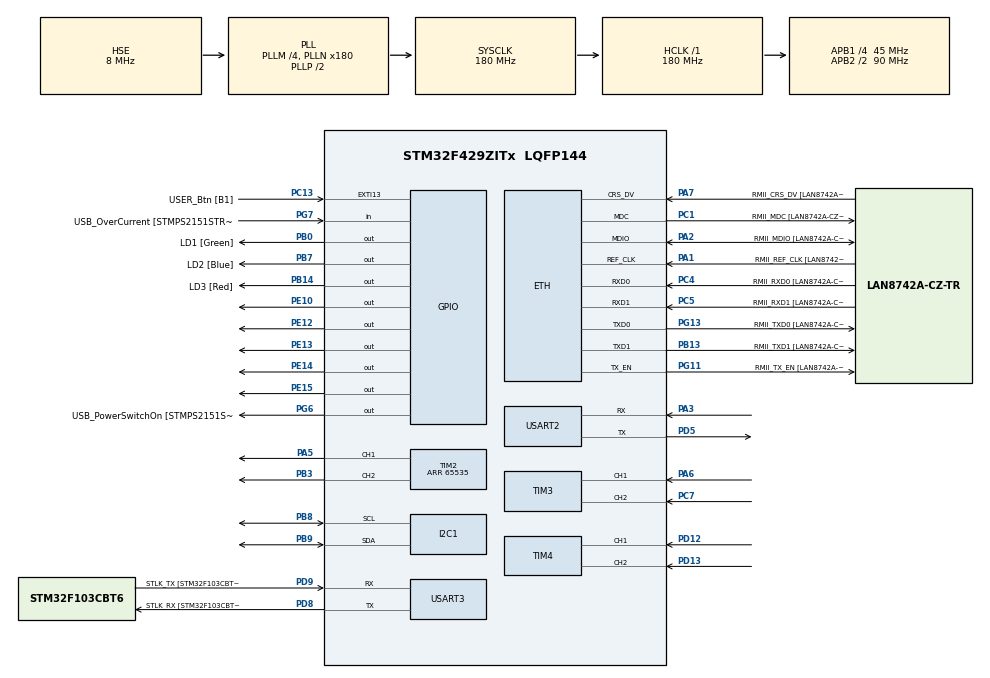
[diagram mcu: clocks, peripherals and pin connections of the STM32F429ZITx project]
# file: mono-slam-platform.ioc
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Dma.I2C1_RX.0.Direction=DMA_PERIPH_TO_MEMORY
Dma.I2C1_RX.0.FIFOMode=DMA_FIFOMODE_DISABLE
Dma.I2C1_RX.0.Instance=DMA1_Stream0
Dma.I2C1_RX.0.MemDataAlignment=DMA_MDATAALIGN_BYTE
Dma.I2C1_RX.0.MemInc=DMA_MINC_ENABLE
Dma.I2C1_RX.0.Mode=DMA_NORMAL
Dma.I2C1_RX.0.PeriphDataAlignment=DMA_PDATAALIGN_BYTE
Dma.I2C1_RX.0.PeriphInc=DMA_PINC_DISABLE
Dma.I2C1_RX.0.Priority=DMA_PRIORITY_LOW
Dma.Request0=I2C1_RX
Dma.Request1=USART3_RX
Dma.Request2=USART3_TX
Dma.USART3_RX.1.Direction=DMA_PERIPH_TO_MEMORY
Dma.USART3_RX.1.FIFOMode=DMA_FIFOMODE_DISABLE
Dma.USART3_RX.1.Instance=DMA1_Stream1
Dma.USART3_RX.1.MemDataAlignment=DMA_MDATAALIGN_BYTE
Dma.USART3_RX.1.MemInc=DMA_MINC_ENABLE
Dma.USART3_RX.1.Mode=DMA_CIRCULAR
Dma.USART3_RX.1.PeriphDataAlignment=DMA_PDATAALIGN_BYTE
Dma.USART3_RX.1.PeriphInc=DMA_PINC_DISABLE
Dma.USART3_RX.1.Priority=DMA_PRIORITY_VERY_HIGH
Dma.USART3_TX.2.Direction=DMA_MEMORY_TO_PERIPH
Dma.USART3_TX.2.FIFOMode=DMA_FIFOMODE_DISABLE
Dma.USART3_TX.2.Instance=DMA1_Stream3
Dma.USART3_TX.2.MemDataAlignment=DMA_MDATAALIGN_BYTE
Dma.USART3_TX.2.MemInc=DMA_MINC_ENABLE
Dma.USART3_TX.2.Mode=DMA_NORMAL
Dma.USART3_TX.2.PeriphDataAlignment=DMA_PDATAALIGN_BYTE
Dma.USART3_TX.2.PeriphInc=DMA_PINC_DISABLE
Dma.USART3_TX.2.Priority=DMA_PRIORITY_VERY_HIGH
ETH.MediaInterface=HAL_ETH_RMII_MODE
ETH.PHY_Name=LAN8742A_PHY_ADDRESS
ETH.PHY_Value=0
ETH.PhyAddress=0
FREERTOS.Tasks01=defaultTask,24,3000,StartDefaultTask,Default,NULL,Static,defaultTaskBuffer,defaultTaskControlBlock
Mcu.Family=STM32F4
Mcu.Name=STM32F429ZITx
Mcu.Package=LQFP144
NVIC.DMA1_Stream0_IRQn=true\:5\:0\:false\:false\:true\:true\:false\:true\:true
NVIC.DMA1_Stream1_IRQn=true\:5\:0\:false\:false\:true\:true\:false\:true\:true
NVIC.DMA1_Stream3_IRQn=true\:5\:0\:false\:false\:true\:true\:false\:true\:true
NVIC.PriorityGroup=NVIC_PRIORITYGROUP_4
NVIC.TIM1_UP_TIM10_IRQn=true\:15\:0\:false\:false\:true\:false\:false\:true\:true
NVIC.TimeBase=TIM1_UP_TIM10_IRQn
NVIC.TimeBaseIP=TIM1
NVIC.USART3_IRQn=true\:5\:0\:false\:false\:true\:true\:true\:true\:true
PA1.GPIO_Label=RMII_REF_CLK [LAN8742A-CZ-TR_REFCLK0]
PA1.Mode=RMII
PA1.Signal=ETH_REF_CLK
PA10.GPIO_Label=USB_ID
PA10.Signal=USB_OTG_FS_ID
PA11.GPIO_Label=USB_DM
PA11.Signal=USB_OTG_FS_DM
PA12.GPIO_Label=USB_DP
PA12.Signal=USB_OTG_FS_DP
PA13.GPIO_Label=TMS
PA13.Mode=Serial_Wire
PA13.Signal=SYS_JTMS-SWDIO
PA14.GPIO_Label=TCK
PA14.Mode=Serial_Wire
PA14.Signal=SYS_JTCK-SWCLK
PA2.GPIO_Label=RMII_MDIO [LAN8742A-CZ-TR_MDIO]
PA2.Mode=RMII
PA2.Signal=ETH_MDIO
PA3.Mode=Asynchronous
PA3.Signal=USART2_RX
PA5.Signal=S_TIM2_CH1_ETR
PA6.Signal=S_TIM3_CH1
PA7.GPIO_Label=RMII_CRS_DV [LAN8742A-CZ-TR_CRS_DV]
PA7.Mode=RMII
PA7.Signal=ETH_CRS_DV
PA8.GPIO_Label=USB_SOF [TP1]
PA8.Signal=USB_OTG_FS_SOF
PA9.GPIO_Label=USB_VBUS
PA9.Signal=USB_OTG_FS_VBUS
PB0.GPIO_Label=LD1 [Green]
PB0.Signal=GPIO_Output
PB13.GPIO_Label=RMII_TXD1 [LAN8742A-CZ-TR_TXD1]
PB13.Mode=RMII
PB13.Signal=ETH_TXD1
PB14.GPIO_Label=LD3 [Red]
PB14.Signal=GPIO_Output
PB3.Signal=S_TIM2_CH2
PB7.GPIO_Label=LD2 [Blue]
PB7.Signal=GPIO_Output
PB8.Mode=I2C
PB8.Signal=I2C1_SCL
PB9.Mode=I2C
PB9.Signal=I2C1_SDA
PC1.GPIO_Label=RMII_MDC [LAN8742A-CZ-TR_MDC]
PC1.Mode=RMII
PC1.Signal=ETH_MDC
PC13.GPIO_Label=USER_Btn [B1]
PC13.Signal=GPXTI13
PC14/OSC32_IN.Mode=LSE-External-Oscillator
PC14/OSC32_IN.Signal=RCC_OSC32_IN
PC15/OSC32_OUT.Mode=LSE-External-Oscillator
PC15/OSC32_OUT.Signal=RCC_OSC32_OUT
PC4.GPIO_Label=RMII_RXD0 [LAN8742A-CZ-TR_RXD0]
PC4.Mode=RMII
PC4.Signal=ETH_RXD0
PC5.GPIO_Label=RMII_RXD1 [LAN8742A-CZ-TR_RXD1]
PC5.Mode=RMII
PC5.Signal=ETH_RXD1
PC7.Signal=S_TIM3_CH2
PD12.Signal=S_TIM4_CH1
PD13.Signal=S_TIM4_CH2
PD5.Mode=Asynchronous
PD5.Signal=USART2_TX
PD8.GPIO_Label=STLK_RX [STM32F103CBT6_PA3]
PD8.Mode=Asynchronous
PD8.Signal=USART3_TX
PD9.GPIO_Label=STLK_TX [STM32F103CBT6_PA2]
PD9.Mode=Asynchronous
PD9.Signal=USART3_RX
PE10.Signal=GPIO_Output
PE12.Signal=GPIO_Output
PE13.Signal=GPIO_Output
PE14.Signal=GPIO_Output
PE15.Signal=GPIO_Output
PG11.GPIO_Label=RMII_TX_EN [LAN8742A-CZ-TR_TXEN]
PG11.Mode=RMII
PG11.Signal=ETH_TX_EN
PG13.GPIO_Label=RMII_TXD0 [LAN8742A-CZ-TR_TXD0]
PG13.Mode=RMII
PG13.Signal=ETH_TXD0
PG6.GPIO_Label=USB_PowerSwitchOn [STMPS2151STR_EN]
PG6.Signal=GPIO_Output
PG7.GPIO_Label=USB_OverCurrent [STMPS2151STR_FAULT]
PG7.Signal=GPIO_Input
PH0/OSC_IN.GPIO_Label=MCO [STM32F103CBT6_PA8]
PH0/OSC_IN.Mode=HSE-External-Clock-Source
PH0/OSC_IN.Signal=RCC_OSC_IN
PH1/OSC_OUT.Mode=HSE-External-Clock-Source
PH1/OSC_OUT.Signal=RCC_OSC_OUT
ProjectManager.HeapSize=0x200
ProjectManager.StackSize=0x400
ProjectManager.TargetToolchain=Makefile
RCC.48MHZClocksFreq_Value=51428571.428571425
RCC.AHBFreq_Value=180000000
RCC.APB1CLKDivider=RCC_HCLK_DIV4
RCC.APB1Freq_Value=45000000
RCC.APB1TimFreq_Value=90000000
RCC.APB2CLKDivider=RCC_HCLK_DIV2
RCC.APB2Freq_Value=90000000
RCC.APB2TimFreq_Value=180000000
RCC.CortexFreq_Value=180000000
RCC.HCLKFreq_Value=180000000
RCC.HSE_VALUE=8000000
RCC.HSI_VALUE=16000000
RCC.PLLM=4
RCC.PLLMUL=RCC_PLL_MUL9
RCC.PLLN=180
RCC.PLLQ=7
RCC.PLLSourceVirtual=RCC_PLLSOURCE_HSE
RCC.PRESCALERUSB=RCC_USBCLKSOURCE_PLL_DIV1_5
RCC.SYSCLKFreq_VALUE=180000000
RCC.SYSCLKSource=RCC_SYSCLKSOURCE_PLLCLK
RCC.SYSCLKSourceVirtual=RCC_SYSCLKSOURCE_PLLCLK
RCC.USBFreq_Value=48000000
RCC.VCOOutputFreq_Value=360000000
SH.S_TIM2_CH1_ETR.0=TIM2_CH1,PWM Generation1 CH1
SH.S_TIM2_CH2.0=TIM2_CH2,PWM Generation2 CH2
SH.S_TIM3_CH1.0=TIM3_CH1,Encoder_Interface
SH.S_TIM3_CH2.0=TIM3_CH2,Encoder_Interface
SH.S_TIM4_CH1.0=TIM4_CH1,Encoder_Interface
SH.S_TIM4_CH2.0=TIM4_CH2,Encoder_Interface
TIM2.AutoReloadPreload=TIM_AUTORELOAD_PRELOAD_ENABLE
TIM2.Channel-PWM\ Generation1\ CH1=TIM_CHANNEL_1
TIM2.Channel-PWM\ Generation2\ CH2=TIM_CHANNEL_2
TIM2.Period=65535
TIM3.EncoderMode=TIM_ENCODERMODE_TI12
TIM3.IC1Filter=10
TIM3.IC2Filter=10
TIM4.EncoderMode=TIM_ENCODERMODE_TI12
TIM4.IC1Filter=10
TIM4.IC2Filter=10
USART2.VirtualMode=VM_ASYNC
USART3.VirtualMode=VM_ASYNC
VP_FREERTOS_VS_CMSIS_V2.Mode=CMSIS_V2
VP_SYS_VS_tim1.Mode=TIM1
VP_TIM2_VS_ClockSourceINT.Mode=Internal
board=NUCLEO-F429ZI

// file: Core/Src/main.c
/* USER CODE BEGIN Header */
/**
 ******************************************************************************
 * @file           : main.c
 * @brief          : Main program body
 ******************************************************************************
 * @attention
 *
 * Copyright (c) 2025 STMicroelectronics.
 * All rights reserved.
 *
 * This software is licensed under terms that can be found in the LICENSE file
 * in the root directory of this software component.
 * If no LICENSE file comes with this software, it is provided AS-IS.
 *
 ******************************************************************************
 */
/* USER CODE END Header */
#include "main.h"
#include "cmsis_os.h"
#include "dma.h"
#include "eth.h"
#include "i2c.h"
#include "tim.h"
#include "usart.h"
#include "gpio.h"

/* USER CODE BEGIN Includes */
#include "actuator.h"
#include "app.h"
#include "app_config.h"
#include "debug.h"
#include "stm32f4_encoder_port_config.h"
#include "stm32f4_gpio_port_config.h"
#include "stm32f4_pwm_port_config.h"
/* USER CODE END Includes */

/* USER CODE BEGIN PV */
stm32f4_encoder_handle_t port_encoder1 = {
    .htim = &htim3,
    .channels = TIM_CHANNEL_ALL,
};
stm32f4_encoder_handle_t port_encoder2 = {
    .htim = &htim4,
    .channels = TIM_CHANNEL_ALL,
};

stm32f4_gpio_port_t port_hbridge1_in1 = {
    .port = GPIOE,
    .pin = GPIO_PIN_12,
};

stm32f4_gpio_port_t port_hbridge1_in2 = {
    .port = GPIOE,
    .pin = GPIO_PIN_13,
};

stm32f4_gpio_port_t port_hbridge2_in1 = {
    .port = GPIOE,
    .pin = GPIO_PIN_14,
};

stm32f4_gpio_port_t port_hbridge2_in2 = {
    .port = GPIOE,
    .pin = GPIO_PIN_15,
};

stm32f4_pwm_port_t port_hbridge1_pwm = {
    .htim = &htim2,
    .channel = TIM_CHANNEL_2,
};

stm32f4_pwm_port_t port_hbridge2_pwm = {
    .htim = &htim2,
    .channel = TIM_CHANNEL_1,
};

/* NOTE: The IN1/IN2 direction pins are intentionally cross-wired between
 * actuators to compensate for the physical PCB routing. Actuator 1 uses the
 * direction pins of H-bridge 2, and actuator 2 uses the direction pins of
 * H-bridge 1 (with IN1/IN2 also swapped). This was verified on hardware and
 * documented in the development journal (2025-07-10). Do not "fix" this. */
actuator_args_t actuator1_args = {
    .port_encoder = (void *)&port_encoder1,
    .counts_per_revolution = MOTOR_GEAR_RATIO * ENCODER_TICKS_MULTIPLIER *
                             ENCODER_TICKS_PER_REVOLUTION,
    .port_hbridge_pwm = (void *)&port_hbridge1_pwm,
    .port_hbridge_in1 = (void *)&port_hbridge2_in1,
    .port_hbridge_in2 = (void *)&port_hbridge2_in2,
    .state_queue_attr = (void *)&actuator1_state_queue_attr,
    .param_queue_attr = (void *)&actuator1_param_queue_attr,
};

actuator_args_t actuator2_args = {
    .port_encoder = (void *)&port_encoder2,
    .counts_per_revolution = MOTOR_GEAR_RATIO * ENCODER_TICKS_MULTIPLIER *
                             ENCODER_TICKS_PER_REVOLUTION,
    .port_hbridge_pwm = (void *)&port_hbridge2_pwm,
    .port_hbridge_in1 = (void *)&port_hbridge1_in2,
    .port_hbridge_in2 = (void *)&port_hbridge1_in1,
    .state_queue_attr = (void *)&actuator2_state_queue_attr,
    .param_queue_attr = (void *)&actuator2_param_queue_attr,
};
/* USER CODE END PV */

void SystemClock_Config(void);
void MX_FREERTOS_Init(void);

int main(void)
{

  /* MCU Configuration--------------------------------------------------------*/

  /* Reset of all peripherals, Initializes the Flash interface and the Systick. */
  HAL_Init();

  /* Configure the system clock */
  SystemClock_Config();

  /* Initialize all configured peripherals */
  MX_GPIO_Init();
  MX_DMA_Init();
  MX_ETH_Init();
  MX_USART2_UART_Init();
  MX_USART3_UART_Init();
  MX_TIM2_Init();
  MX_I2C1_Init();
  MX_TIM3_Init();
  MX_TIM4_Init();
  /* USER CODE BEGIN 2 */
  debug_init(&huart3);
  if (app_init(&hi2c1, &actuator1_args, &actuator2_args) < 0) {
      Error_Handler();
  }
  /* USER CODE END 2 */

  /* Init scheduler */
  osKernelInitialize();

  /* Call init function for freertos objects (in cmsis_os2.c) */
  MX_FREERTOS_Init();

  /* Start scheduler */
  osKernelStart();

  /* We should never get here as control is now taken by the scheduler */

  /* Infinite loop */
    while (1) {

    }
}

void SystemClock_Config(void)
{
  RCC_OscInitTypeDef RCC_OscInitStruct = {0};
  RCC_ClkInitTypeDef RCC_ClkInitStruct = {0};

  /** Configure the main internal regulator output voltage
  */
  __HAL_RCC_PWR_CLK_ENABLE();
  __HAL_PWR_VOLTAGESCALING_CONFIG(PWR_REGULATOR_VOLTAGE_SCALE1);

  /** Initializes the RCC Oscillators according to the specified parameters
  * in the RCC_OscInitTypeDef structure.
  */
  RCC_OscInitStruct.OscillatorType = RCC_OSCILLATORTYPE_HSE;
  RCC_OscInitStruct.HSEState = RCC_HSE_BYPASS;
  RCC_OscInitStruct.PLL.PLLState = RCC_PLL_ON;
  RCC_OscInitStruct.PLL.PLLSource = RCC_PLLSOURCE_HSE;
  RCC_OscInitStruct.PLL.PLLM = 4;
  RCC_OscInitStruct.PLL.PLLN = 180;
  RCC_OscInitStruct.PLL.PLLP = RCC_PLLP_DIV2;
  RCC_OscInitStruct.PLL.PLLQ = 7;
  if (HAL_RCC_OscConfig(&RCC_OscInitStruct) != HAL_OK)
  {
    Error_Handler();
  }

  /** Activate the Over-Drive mode
  */
  if (HAL_PWREx_EnableOverDrive() != HAL_OK)
  {
    Error_Handler();
  }

  /** Initializes the CPU, AHB and APB buses clocks
  */
  RCC_ClkInitStruct.ClockType = RCC_CLOCKTYPE_HCLK|RCC_CLOCKTYPE_SYSCLK
                              |RCC_CLOCKTYPE_PCLK1|RCC_CLOCKTYPE_PCLK2;
  RCC_ClkInitStruct.SYSCLKSource = RCC_SYSCLKSOURCE_PLLCLK;
  RCC_ClkInitStruct.AHBCLKDivider = RCC_SYSCLK_DIV1;
  RCC_ClkInitStruct.APB1CLKDivider = RCC_HCLK_DIV4;
  RCC_ClkInitStruct.APB2CLKDivider = RCC_HCLK_DIV2;

  if (HAL_RCC_ClockConfig(&RCC_ClkInitStruct, FLASH_LATENCY_5) != HAL_OK)
  {
    Error_Handler();
  }
}

void HAL_TIM_PeriodElapsedCallback(TIM_HandleTypeDef *htim)
{
  if (htim->Instance == TIM1) {
    HAL_IncTick();
  }
}

void Error_Handler(void)
{
  /* USER CODE BEGIN Error_Handler_Debug */
    /* User can add his own implementation to report the HAL error return state
     */
    __disable_irq();
    while (1) {
    }
  /* USER CODE END Error_Handler_Debug */
}

#ifdef  USE_FULL_ASSERT
/**
  * @brief  Reports the name of the source file and the source line number
  *         where the assert_param error has occurred.
  * @param  file: pointer to the source file name
  * @param  line: assert_param error line source number
  * @retval None
  */
void assert_failed(uint8_t *file, uint32_t line)
{
  /* USER CODE BEGIN 6 */
    /* User can add his own implementation to report the file name and line
       number, ex: printf("Wrong parameters value: file %s on line %d\r\n",
       file, line) */
  /* USER CODE END 6 */
}
#endif /* USE_FULL_ASSERT */

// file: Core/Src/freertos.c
/* USER CODE BEGIN Header */
/**
  ******************************************************************************
  * File Name          : freertos.c
  * Description        : Code for freertos applications
  ******************************************************************************
  * @attention
  *
  * Copyright (c) 2025 STMicroelectronics.
  * All rights reserved.
  *
  * This software is licensed under terms that can be found in the LICENSE file
  * in the root directory of this software component.
  * If no LICENSE file comes with this software, it is provided AS-IS.
  *
  ******************************************************************************
  */
/* USER CODE END Header */

#include "FreeRTOS.h"
#include "task.h"
#include "main.h"
#include "cmsis_os.h"

/* USER CODE BEGIN Includes */
#include "transport.h"
#include "microros_transport_config.h"
#include "imu.h"
#include "usart.h"

#include <rcl/rcl.h>
#include <rcl/error_handling.h>
#include <rclc/executor.h>
#include <rclc/rclc.h>
#include <rmw_microros/rmw_microros.h>
#include <rmw_microxrcedds_c/config.h>
#include <rclc_parameter/rclc_parameter.h>
#include <uxr/client/transport.h>
#include <stdio.h>

#include <geometry_msgs/msg/quaternion.h>
#include <geometry_msgs/msg/vector3.h>
/* USER CODE END Includes */

typedef StaticTask_t osStaticThreadDef_t;

/* USER CODE BEGIN Variables */
static transport_context_t transport_context;
static rcl_timer_t joint_state_publisher_timer;
static rcl_timer_t imu_publisher_timer;
static rcl_timer_t odometry_publisher_timer;
/* USER CODE END Variables */
/* Definitions for defaultTask */
osThreadId_t defaultTaskHandle;
uint32_t defaultTaskBuffer[ 3000 ];
osStaticThreadDef_t defaultTaskControlBlock;
const osThreadAttr_t defaultTask_attributes = {
  .name = "defaultTask",
  .cb_mem = &defaultTaskControlBlock,
  .cb_size = sizeof(defaultTaskControlBlock),
  .stack_mem = &defaultTaskBuffer[0],
  .stack_size = sizeof(defaultTaskBuffer),
  .priority = (osPriority_t) osPriorityNormal,
};

/* USER CODE BEGIN FunctionPrototypes */
bool cubemx_transport_open(struct uxrCustomTransport* transport);
bool cubemx_transport_close(struct uxrCustomTransport* transport);
size_t cubemx_transport_write(struct uxrCustomTransport* transport,
                              const uint8_t* buf, size_t len, uint8_t* err);
size_t cubemx_transport_read(struct uxrCustomTransport* transport, uint8_t* buf,
                             size_t len, int timeout, uint8_t* err);

void* microros_allocate(size_t size, void* state);
void microros_deallocate(void* pointer, void* state);
void* microros_reallocate(void* pointer, size_t size, void* state);
void* microros_zero_allocate(size_t number_of_elements, size_t size_of_element,
                             void* state);
void publisher_timer_callback(rcl_timer_t *timer, int64_t last_call_time);
/* USER CODE END FunctionPrototypes */

void StartDefaultTask(void *argument);

void MX_FREERTOS_Init(void); /* (MISRA C 2004 rule 8.1) */

void MX_FREERTOS_Init(void) {

  /* Create the thread(s) */
  /* creation of defaultTask */
  defaultTaskHandle = osThreadNew(StartDefaultTask, NULL, &defaultTask_attributes);

}

void StartDefaultTask(void *argument)
{
  /* USER CODE BEGIN StartDefaultTask */
// micro-ROS configuration
    rmw_uros_set_custom_transport(
        true, (void*)&huart3, cubemx_transport_open, cubemx_transport_close,
        cubemx_transport_write, cubemx_transport_read);

    rcl_allocator_t freeRTOS_allocator =
        rcutils_get_zero_initialized_allocator();
    freeRTOS_allocator.allocate = microros_allocate;
    freeRTOS_allocator.deallocate = microros_deallocate;
    freeRTOS_allocator.reallocate = microros_reallocate;
    freeRTOS_allocator.zero_allocate = microros_zero_allocate;

    if (!rcutils_set_default_allocator(&freeRTOS_allocator)) {
        printf("Error on default allocators (line %d)\n", __LINE__);
    }

    // micro-ROS app
    rclc_support_t support;
    rcl_allocator_t allocator;
    rcl_node_t node;
    rclc_executor_t executor;

    allocator = rcl_get_default_allocator();

    // create init_options
    rclc_support_init(&support, 0, NULL, &allocator);

    // create node
    rclc_node_init_default(&node, "vizcc_mcu", "", &support);

    // executor
    executor = rclc_executor_get_zero_initialized_executor();
    rclc_executor_init(&executor, &support.context,
                       RCLC_EXECUTOR_PARAMETER_SERVER_HANDLES + 7, &allocator);
    unsigned int rcl_executor_timeout = 10;
    rclc_executor_set_timeout(&executor, RCL_MS_TO_NS(rcl_executor_timeout));

    unsigned int rcl_timer_timeout = 10;
    rclc_timer_init_default(&joint_state_publisher_timer, &support, RCL_MS_TO_NS(rcl_timer_timeout),
                            publisher_timer_callback);
    rclc_executor_add_timer(&executor, &joint_state_publisher_timer);

    rcl_timer_timeout = 20;
    rclc_timer_init_default(&imu_publisher_timer, &support, RCL_MS_TO_NS(rcl_timer_timeout),
                            publisher_timer_callback);
    rclc_executor_add_timer(&executor, &imu_publisher_timer);

    rcl_timer_timeout = 20;
    rclc_timer_init_default(&odometry_publisher_timer, &support, RCL_MS_TO_NS(rcl_timer_timeout),
                            publisher_timer_callback);
    rclc_executor_add_timer(&executor, &odometry_publisher_timer);

    // create app transport layer
    transport_context.node = &node;
    transport_context.executor = &executor;
    transport_imu_init((void *)&transport_context);
    transport_joint_state_init((void *)&transport_context);
    transport_odometry_init((void *)&transport_context);
    if (transport_command_joint_space_init((void *)&transport_context) < 0) {
        printf("ERROR: Unable to crete joint space command subscription (line %d).\r\n",
               __LINE__);
    }
    // transport_command_velocity_init((void *)&transport_context);
    transport_parameter_server_init((void *)&transport_context);

    rclc_executor_prepare(&executor);
    rclc_executor_spin(&executor);
  /* USER CODE END StartDefaultTask */
}

/* USER CODE BEGIN Application */
void HAL_GPIO_EXTI_Callback(uint16_t GPIO_Pin) {
    if (GPIO_Pin == GPIO_PIN_12) {
        imu_task_notify_from_isr();
    }
}

void publisher_timer_callback(rcl_timer_t *timer, int64_t last_call_time) {
    if (timer == &joint_state_publisher_timer) {
        transport_joint_state_publish();
    } else if (timer == &imu_publisher_timer) {
        transport_imu_publish();
    } else if (timer == &odometry_publisher_timer) {
        transport_odometry_publish();
    } else {
        printf("Error joint state publisher timer callback execution without handle (line %d)\r\n",
               __LINE__);
    }
}
/* USER CODE END Application */
